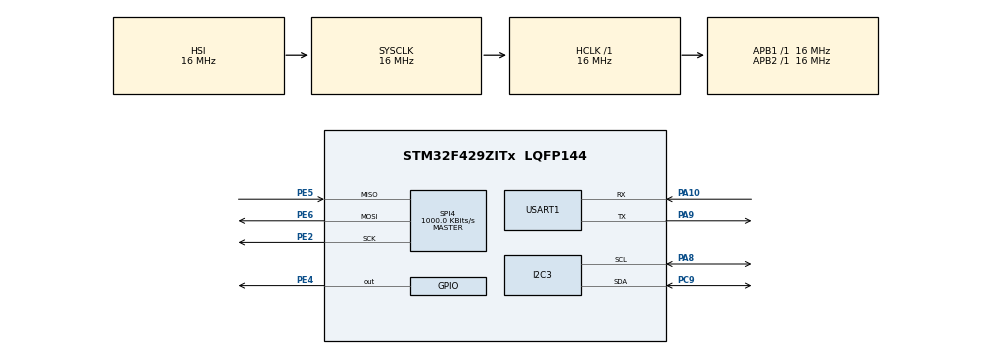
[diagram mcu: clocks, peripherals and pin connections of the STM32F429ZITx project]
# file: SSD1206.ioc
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I2C3.I2C_Mode=I2C_Fast
Mcu.Family=STM32F4
Mcu.Name=STM32F429ZITx
Mcu.Package=LQFP144
NVIC.PriorityGroup=NVIC_PRIORITYGROUP_4
PA10.Mode=Asynchronous
PA10.Signal=USART1_RX
PA8.Mode=I2C
PA8.Signal=I2C3_SCL
PA9.Mode=Asynchronous
PA9.Signal=USART1_TX
PC9.Mode=I2C
PC9.Signal=I2C3_SDA
PE2.Mode=Full_Duplex_Master
PE2.Signal=SPI4_SCK
PE4.PinState=GPIO_PIN_SET
PE4.Signal=GPIO_Output
PE5.Mode=Full_Duplex_Master
PE5.Signal=SPI4_MISO
PE6.Mode=Full_Duplex_Master
PE6.Signal=SPI4_MOSI
ProjectManager.HeapSize=0x200
ProjectManager.StackSize=0x400
ProjectManager.TargetToolchain=STM32CubeIDE
RCC.AHBFreq_Value=16000000
RCC.APB1Freq_Value=16000000
RCC.APB2Freq_Value=16000000
RCC.CortexFreq_Value=16000000
RCC.HSE_VALUE=25000000
RCC.HSI_VALUE=16000000
RCC.LSE_VALUE=32768
RCC.SYSCLKFreq_VALUE=16000000
RCC.VCOOutputFreq_Value=192000000
SPI4.BaudRatePrescaler=SPI_BAUDRATEPRESCALER_16
SPI4.CRCCalculation=SPI_CRCCALCULATION_DISABLE
SPI4.CalculateBaudRate=1000.0 KBits/s
SPI4.Direction=SPI_DIRECTION_2LINES
SPI4.Mode=SPI_MODE_MASTER
SPI4.VirtualType=VM_MASTER
USART1.VirtualMode=VM_ASYNC
board=custom

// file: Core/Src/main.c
/* USER CODE BEGIN Header */
/**
 ******************************************************************************
 * @file           : main.c
 * @brief          : Main program body
 ******************************************************************************
 * @attention
 *
 * Copyright (c) 2024 STMicroelectronics.
 * All rights reserved.
 *
 * This software is licensed under terms that can be found in the LICENSE file
 * in the root directory of this software component.
 * If no LICENSE file comes with this software, it is provided AS-IS.
 *
 ******************************************************************************
 */
/* USER CODE END Header */
#include "main.h"

/* USER CODE BEGIN Includes */
#include "SH1106.h"
#include "fonts.h"
#include "stdio.h"
#include "tm_stm32f4_mfrc522.h"
/* USER CODE END Includes */

/* USER CODE BEGIN PTD */
struct Time {
	uint8_t sec;
	uint8_t min;
	uint8_t hour;
	uint8_t weekday;
	uint8_t day;
	uint8_t month;
	uint8_t year;
};
/* USER CODE END PTD */

I2C_HandleTypeDef hi2c3;

SPI_HandleTypeDef hspi4;

UART_HandleTypeDef huart1;

void SystemClock_Config(void);
static void MX_GPIO_Init(void);
static void MX_I2C3_Init(void);
static void MX_USART1_UART_Init(void);
static void MX_SPI4_Init(void);

/* USER CODE BEGIN 0 */

void TestDS1307() {
	char buff[30];
	struct Time Set_time, Get_Time;

	Set_time.sec = 10;
	Set_time.min = 30;
	Set_time.hour = 7;
	Set_time.day = 9;
	Set_time.month = 11;
	Set_time.year = 24;
	Set_time.weekday = 0;

	//write time to DS1307
	HAL_I2C_Mem_Write(&hi2c3, 0xD0, 0, 1, (uint8_t*) &Set_time, 7, 1000);
	//read time back
	HAL_I2C_Mem_Read(&hi2c3, 0xD1, 0, 1, (uint8_t*) &Get_Time, 7, 1000);

	sprintf(buff, "%02d:%02d:%02d-%02d-%02d/%02d/%02d \n", Get_Time.hour,
			Get_Time.min, Get_Time.sec, Get_Time.weekday, Get_Time.day,
			Get_Time.month, Get_Time.year);
	HAL_UART_Transmit(&huart1, (uint8_t*) buff, strlen(buff), 1000);
}

/* USER CODE END 0 */

int main(void) {

	/* MCU Configuration--------------------------------------------------------*/

	/* Reset of all peripherals, Initializes the Flash interface and the Systick. */
	HAL_Init();

	/* Configure the system clock */
	SystemClock_Config();

	/* Initialize all configured peripherals */
	MX_GPIO_Init();
	MX_I2C3_Init();
	MX_USART1_UART_Init();
	MX_SPI4_Init();
	/* USER CODE BEGIN 2 */
	TestDS1307();

	char buf[100];
	SH1106_Init();
	sprintf(buf, "%s", "RC522 RFID");
	SH1106_GotoXY(12, 10); // goto 10, 10
	SH1106_Puts(buf, &Font_11x18, 1);
	SH1106_UpdateScreen(); // update screen
	HAL_Delay(1000);

	TM_MFRC522_Init();

	/* USER CODE END 2 */

	/* Infinite loop */
	/* USER CODE BEGIN WHILE */
	while (1) {
		uint8_t CardID[5];
		HAL_Delay(100);

		if (TM_MFRC522_Check(CardID) == MI_OK) {
			sprintf(buf, "ID: %02X%02X%02X%02X%02X", CardID[0], CardID[1],
					CardID[2], CardID[3], CardID[4]); // card found
			SH1106_GotoXY(12, 10); // goto 10, 10
			SH1106_Puts(buf, &Font_11x18, 1);
			SH1106_UpdateScreen(); // update screen
			HAL_Delay(1000);
		} else {
			sprintf(buf, "%s", "----------");
			SH1106_GotoXY(12, 10); // goto 10, 10
			SH1106_Puts(buf, &Font_11x18, 1);
			SH1106_UpdateScreen(); // update screen
			HAL_Delay(1000);
		}
		/* USER CODE END WHILE */

	}
}

void SystemClock_Config(void) {
	RCC_OscInitTypeDef RCC_OscInitStruct = { 0 };
	RCC_ClkInitTypeDef RCC_ClkInitStruct = { 0 };

	/** Configure the main internal regulator output voltage
	 */
	__HAL_RCC_PWR_CLK_ENABLE();
	__HAL_PWR_VOLTAGESCALING_CONFIG(PWR_REGULATOR_VOLTAGE_SCALE3);

	/** Initializes the RCC Oscillators according to the specified parameters
	 * in the RCC_OscInitTypeDef structure.
	 */
	RCC_OscInitStruct.OscillatorType = RCC_OSCILLATORTYPE_HSI;
	RCC_OscInitStruct.HSIState = RCC_HSI_ON;
	RCC_OscInitStruct.HSICalibrationValue = RCC_HSICALIBRATION_DEFAULT;
	RCC_OscInitStruct.PLL.PLLState = RCC_PLL_NONE;
	if (HAL_RCC_OscConfig(&RCC_OscInitStruct) != HAL_OK) {
		Error_Handler();
	}

	/** Initializes the CPU, AHB and APB buses clocks
	 */
	RCC_ClkInitStruct.ClockType = RCC_CLOCKTYPE_HCLK | RCC_CLOCKTYPE_SYSCLK
			| RCC_CLOCKTYPE_PCLK1 | RCC_CLOCKTYPE_PCLK2;
	RCC_ClkInitStruct.SYSCLKSource = RCC_SYSCLKSOURCE_HSI;
	RCC_ClkInitStruct.AHBCLKDivider = RCC_SYSCLK_DIV1;
	RCC_ClkInitStruct.APB1CLKDivider = RCC_HCLK_DIV1;
	RCC_ClkInitStruct.APB2CLKDivider = RCC_HCLK_DIV1;

	if (HAL_RCC_ClockConfig(&RCC_ClkInitStruct, FLASH_LATENCY_0) != HAL_OK) {
		Error_Handler();
	}
}

static void MX_I2C3_Init(void) {

	hi2c3.Instance = I2C3;
	hi2c3.Init.ClockSpeed = 400000;
	hi2c3.Init.DutyCycle = I2C_DUTYCYCLE_2;
	hi2c3.Init.OwnAddress1 = 0;
	hi2c3.Init.AddressingMode = I2C_ADDRESSINGMODE_7BIT;
	hi2c3.Init.DualAddressMode = I2C_DUALADDRESS_DISABLE;
	hi2c3.Init.OwnAddress2 = 0;
	hi2c3.Init.GeneralCallMode = I2C_GENERALCALL_DISABLE;
	hi2c3.Init.NoStretchMode = I2C_NOSTRETCH_DISABLE;
	if (HAL_I2C_Init(&hi2c3) != HAL_OK) {
		Error_Handler();
	}

	/** Configure Analogue filter
	 */
	if (HAL_I2CEx_ConfigAnalogFilter(&hi2c3, I2C_ANALOGFILTER_ENABLE)
			!= HAL_OK) {
		Error_Handler();
	}

	/** Configure Digital filter
	 */
	if (HAL_I2CEx_ConfigDigitalFilter(&hi2c3, 0) != HAL_OK) {
		Error_Handler();
	}

}

static void MX_SPI4_Init(void) {

	/* SPI4 parameter configuration*/
	hspi4.Instance = SPI4;
	hspi4.Init.Mode = SPI_MODE_MASTER;
	hspi4.Init.Direction = SPI_DIRECTION_2LINES;
	hspi4.Init.DataSize = SPI_DATASIZE_8BIT;
	hspi4.Init.CLKPolarity = SPI_POLARITY_LOW;
	hspi4.Init.CLKPhase = SPI_PHASE_1EDGE;
	hspi4.Init.NSS = SPI_NSS_SOFT;
	hspi4.Init.BaudRatePrescaler = SPI_BAUDRATEPRESCALER_16;
	hspi4.Init.FirstBit = SPI_FIRSTBIT_MSB;
	hspi4.Init.TIMode = SPI_TIMODE_DISABLE;
	hspi4.Init.CRCCalculation = SPI_CRCCALCULATION_DISABLE;
	hspi4.Init.CRCPolynomial = 10;
	if (HAL_SPI_Init(&hspi4) != HAL_OK) {
		Error_Handler();
	}

}

static void MX_USART1_UART_Init(void) {

	huart1.Instance = USART1;
	huart1.Init.BaudRate = 115200;
	huart1.Init.WordLength = UART_WORDLENGTH_8B;
	huart1.Init.StopBits = UART_STOPBITS_1;
	huart1.Init.Parity = UART_PARITY_NONE;
	huart1.Init.Mode = UART_MODE_TX_RX;
	huart1.Init.HwFlowCtl = UART_HWCONTROL_NONE;
	huart1.Init.OverSampling = UART_OVERSAMPLING_16;
	if (HAL_UART_Init(&huart1) != HAL_OK) {
		Error_Handler();
	}

}

static void MX_GPIO_Init(void) {
	GPIO_InitTypeDef GPIO_InitStruct = { 0 };

	/* GPIO Ports Clock Enable */
	__HAL_RCC_GPIOE_CLK_ENABLE();
	__HAL_RCC_GPIOC_CLK_ENABLE();
	__HAL_RCC_GPIOA_CLK_ENABLE();

	/*Configure GPIO pin Output Level */
	HAL_GPIO_WritePin(GPIOE, GPIO_PIN_4, GPIO_PIN_SET);

	/*Configure GPIO pin : PE4 */
	GPIO_InitStruct.Pin = GPIO_PIN_4;
	GPIO_InitStruct.Mode = GPIO_MODE_OUTPUT_PP;
	GPIO_InitStruct.Pull = GPIO_NOPULL;
	GPIO_InitStruct.Speed = GPIO_SPEED_FREQ_LOW;
	HAL_GPIO_Init(GPIOE, &GPIO_InitStruct);

}

void Error_Handler(void) {
	__disable_irq();
	while (1) {
	}
}
